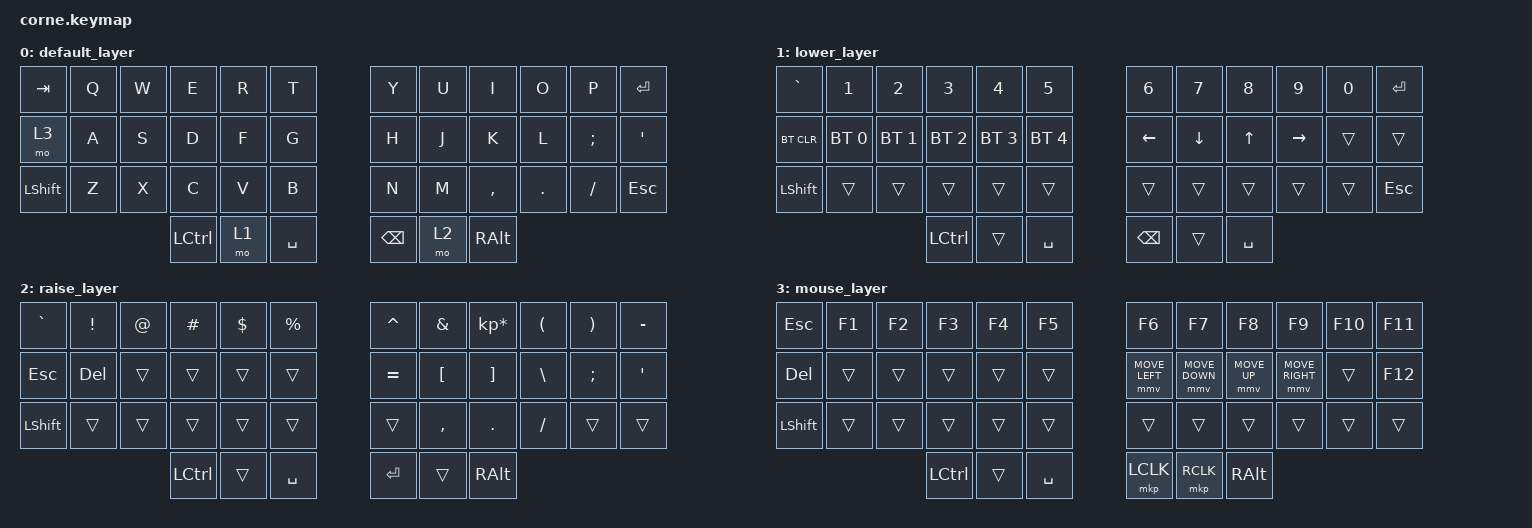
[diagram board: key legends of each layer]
/*
 * Copyright (c) 2020 The ZMK Contributors
 *
 * SPDX-License-Identifier: MIT
 */

#include <behaviors.dtsi>
#include <dt-bindings/zmk/keys.h>
#include <dt-bindings/zmk/bt.h>
#include <dt-bindings/zmk/mouse.h>

&mmv {
    time-to-max-speed-ms = <50>;
};

&mwh {
    acceleration-exponent=<2>;
};

/ {
    combos {
        compatible = "zmk,combos";
        combo_cmd {
            timeout-ms = <50>;
            key-positions = <38 39>;
            bindings = <&kp LGUI>;
        };
    };
};


/ {
        keymap {
                compatible = "zmk,keymap";

                default_layer {
// -----------------------------------------------------------------------------------------
// |  TAB |  Q  |  W  |  E  |  R  |  T  |   |  Y  |  U   |  I  |  O  |  P  | ENT   |
// | MOUSE |  A  |  S  |  D  |  F  |  G  |   |  H  |  J   |  K  |  L  |  ;  |  '   |
// | SHFT |  Z  |  X  |  C  |  V  |  B  |   |  N  |  M   |  ,  |  .  |  /  | ESC   |
//                    | CTRL | LWR | SPC |   | BKSP | RSE  | ALT |
                        bindings = <
   &kp TAB   &kp Q &kp W &kp E &kp R &kp T   &kp Y &kp U  &kp I     &kp O   &kp P    &kp RET
   &mo 3     &kp A &kp S &kp D &kp F &kp G   &kp H &kp J  &kp K     &kp L   &kp SEMI &kp SQT
   &kp LSHFT &kp Z &kp X &kp C &kp V &kp B   &kp N &kp M  &kp COMMA &kp DOT &kp FSLH &kp ESC
                  &kp LCTRL &mo 1 &kp SPACE   &kp BSPC &mo 2 &kp RALT
                        >;
                };
                lower_layer {
// -----------------------------------------------------------------------------------------
// |  `   |  1  |  2  |  3  |  4  |  5  |   |  6  |  7  |  8  |  9  |  0  | ENT |
// | BTCLR| BT1 | BT2 | BT3 | BT4 | BT5 |   | LFT | DWN |  UP | RGT |     |     |
// | SHFT |     |     |     |     |     |   |     |     |     |     |     | ESC |
//                    | CTRL|     | SPC |   | BKSP|     | SPC |
                        bindings = <
   &kp GRAVE  &kp N1       &kp N2       &kp N3       &kp N4       &kp N5         &kp N6   &kp N7   &kp N8 &kp N9    &kp N0 &kp RET
   &bt BT_CLR &bt BT_SEL 0 &bt BT_SEL 1 &bt BT_SEL 2 &bt BT_SEL 3 &bt BT_SEL 4   &kp LEFT &kp DOWN &kp UP &kp RIGHT &trans &trans
   &kp LSHFT  &trans       &trans       &trans       &trans       &trans         &trans   &trans   &trans &trans    &trans &kp ESC
                                    &kp LCTRL     &trans       &kp SPACE      &kp BSPC  &trans   &kp SPACE
                        >;
                };

                raise_layer {
// -----------------------------------------------------------------------------------------
// |  `   |  !  |  @  |  #  |  $  |  %  |   |  ^  |  &  |  *  |  (  |  )  | -    |
// | ESC  | DEL |     |     |     |     |   |  =  |  [  |  ]  |  \  |  ;  | '    |
// | SHFT |     |     |     |     |     |   |     |  ,  |  .  |  /  |     |      |
//                    | CTRL|     | SPC |   | BKSP|     | ALT |
                        bindings = <
   &kp GRAVE &kp EXCL &kp AT &kp HASH &kp DLLR &kp PRCNT   &kp CARET &kp AMPS  &kp KP_MULTIPLY &kp LPAR &kp RPAR &kp MINUS
   &kp ESC &kp DEL   &trans &trans   &trans   &trans      &kp EQUAL &kp LBKT   &kp RBKT &kp BSLH &kp SEMI &kp SQT
   &kp LSHFT &trans   &trans &trans   &trans   &trans      &trans &kp COMMA  &kp DOT        &kp FSLH &trans &trans
                             &kp LCTRL &trans   &kp SPACE   &kp RET   &trans    &kp RALT
                        >;
                };

                mouse_layer {
// -----------------------------------------------------------------------------------------
// | ESC  |  F1  |  F2  |  F3  |  F4  |  F5 | |  F6  | F7  |  F8  |  F9  |  F10  |  F11 |
// | DEL  |      |      |      |      |     | | LFT  | DWN |  UP  | RGT  |       |  F12 |
// | SHFT |      |     |     |     |     |   |     |     |     |     |     |      |
//                    | CTRL |     | SPC |   | LCLK |  RCLK   | ALT |
                        bindings = <
   &kp ESC &kp F1       &kp F2       &kp F3       &kp F4       &kp F5         &kp F6   &kp F7   &kp F8 &kp F9    &kp F10 &kp F11 
   &kp DEL &trans   &trans &trans &trans &trans   &mmv MOVE_LEFT &mmv MOVE_DOWN &mmv MOVE_UP &mmv MOVE_RIGHT &trans &kp F12
   &kp LSHFT  &trans       &trans       &trans       &trans       &trans         &trans   &trans   &trans &trans    &trans &trans
                                    &kp LCTRL     &trans       &kp SPACE      &mkp LCLK  &mkp RCLK   &kp RALT
                        >;
                };
        };
};
